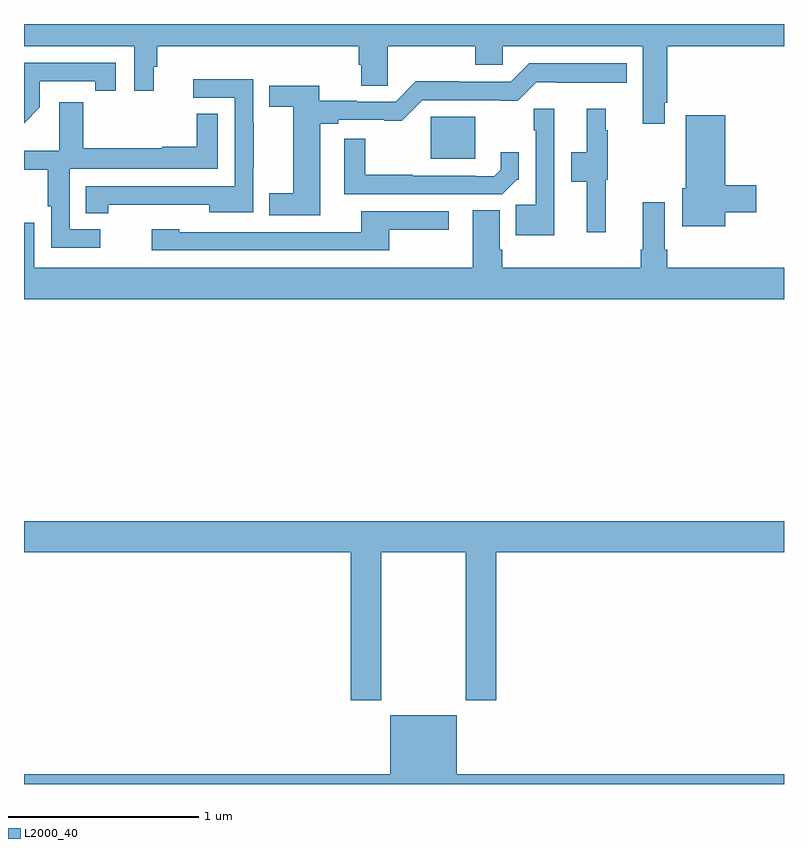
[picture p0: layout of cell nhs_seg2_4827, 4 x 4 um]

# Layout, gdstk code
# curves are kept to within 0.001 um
import gdstk
lib = gdstk.Library(unit=1e-6, precision=1e-09)
def R(c, l, rs):  # rectangles x0, y0, x1, y1
    for r in rs: c.add(gdstk.rectangle(r[:2], r[2:], *l))
def P(c, l, *ps):  # polygons
    for p in ps: c.add(gdstk.Polygon(p, *l))
L2000_40 = (2000, 40)

nhs_seg2_4827 = lib.new_cell('nhs_seg2_4827')
R(nhs_seg2_4827, L2000_40, [(377.141,599.09,377.374,599.311)])
P(nhs_seg2_4827, L2000_40, [(378.373,599.386),(378.386,599.386),(378.386,599.684),(379,599.684),(379,599.8),(375,599.8),(375,599.684),(375.581,599.684),(375.581,599.448),(375.682,599.448),(375.682,599.574),(375.7,599.574),(375.7,599.684),(376.763,599.684),(376.763,599.586),(376.775,599.586),(376.775,599.476),(376.914,599.476),(376.914,599.684),(377.374,599.684),(377.374,599.586),(377.52,599.586),(377.52,599.684),(378.257,599.684),(378.257,599.274),(378.373,599.274)],
  [(375.084,599.361),(375.084,599.499),(375.374,599.499),(375.374,599.448),(375.484,599.448),(375.484,599.595),(375,599.595),(375,599.277)],
  [(376.558,599.275),(376.654,599.275),(376.654,599.295),(376.895,599.295),(376.895,599.29),(376.987,599.29),(377.097,599.4),(377.507,599.4),(377.507,599.395),(377.599,599.395),(377.697,599.493),(378.172,599.492),(378.172,599.593),(377.659,599.593),(377.562,599.496),(377.285,599.496),(377.285,599.498),(377.063,599.498),(376.956,599.391),(376.752,599.391),(376.752,599.396),(376.555,599.396),(376.555,599.476),(376.291,599.476),(376.291,599.365),(376.418,599.365),(376.418,598.908),(376.291,598.908),(376.291,598.793),(376.558,598.793)],
  [(375.444,598.85),(375.974,598.85),(375.974,598.808),(376.206,598.808),(376.206,599.044),(376.208,599.044),(376.208,599.279),(376.206,599.279),(376.206,599.509),(375.891,599.509),(375.891,599.412),(376.11,599.412),(376.11,598.947),(375.325,598.947),(375.325,598.804),(375.444,598.804)],
  [(375.4,598.719),(375.24,598.719),(375.24,599.037),(376.02,599.037),(376.02,599.327),(375.908,599.327),(375.908,599.153),(375.727,599.153),(375.727,599.146),(375.313,599.146),(375.313,599.389),(375.185,599.389),(375.185,599.134),(375,599.134),(375,599.032),(375.124,599.032),(375.124,598.84),(375.144,598.84),(375.144,598.623),(375.4,598.623)],
  [(378.062,598.98),(378.073,598.98),(378.073,599.24),(378.062,599.24),(378.062,599.353),(377.963,599.353),(377.963,599.124),(377.879,599.124),(377.879,598.969),(377.963,598.969),(377.963,598.704),(378.062,598.704)],
  [(377.79,599.353),(377.682,599.353),(377.682,599.24),(377.694,599.24),(377.694,598.849),(377.588,598.849),(377.588,598.688),(377.79,598.688)],
  [(378.691,598.81),(378.853,598.81),(378.853,598.952),(378.691,598.952),(378.691,599.32),(378.482,599.32),(378.482,598.935),(378.464,598.935),(378.464,598.736),(378.691,598.736)],
  [(377.593,598.98),(377.604,598.98),(377.604,599.125),(377.51,599.125),(377.51,599.034),(377.474,598.998),(377.375,598.998),(377.375,599.001),(377.045,599.001),(377.045,599.006),(376.795,599.006),(376.795,599.197),(376.686,599.197),(376.686,598.905),(377.518,598.905)],
  [(379,598.516),(378.386,598.516),(378.386,598.612),(378.373,598.612),(378.373,598.861),(378.257,598.861),(378.257,598.612),(378.245,598.612),(378.245,598.516),(377.516,598.516),(377.516,598.612),(377.503,598.612),(377.503,598.82),(377.363,598.82),(377.363,598.516),(375.054,598.516),(375.054,598.753),(375,598.753),(375,598.352),(379,598.352)],
  [(376.923,598.718),(377.236,598.718),(377.236,598.815),(376.775,598.815),(376.775,598.704),(375.816,598.704),(375.816,598.72),(375.672,598.72),(375.672,598.608),(376.923,598.608)],
  [(376.881,597.02),(377.326,597.02),(377.326,596.241),(377.486,596.241),(377.486,597.02),(379,597.02),(379,597.184),(375,597.184),(375,597.02),(376.721,597.02),(376.721,596.241),(376.881,596.241)],
  [(379,595.852),(377.278,595.852),(377.278,596.161),(376.928,596.161),(376.928,595.852),(375,595.852),(375,595.8),(379,595.8)])

lib.write_gds('nhs_seg2_4827.gds')
